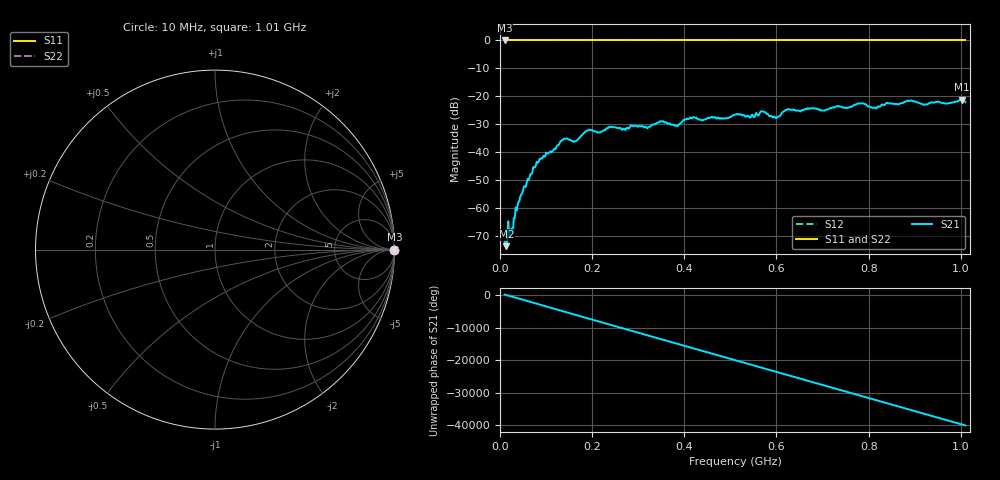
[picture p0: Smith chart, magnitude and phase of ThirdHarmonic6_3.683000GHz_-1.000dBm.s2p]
! 8/17/2025 12:28:39 PM
! C:\ANRITSUVNA\TEMP\TEMP.S2P
! CHANNEL.1
! TR.MEASUREMENT
! RAW.DATA
! RF.CORRECTION.OFF
! AVERAGING.OFF
! IF.BANDWIDTH: 5KHZ
! SWEEPTYPE:  FREQ.SWEEP(Linear)
! Reference Plane Port Info
! PORT:  PORT1  PORT2
! DISTANCE:  0  m  0  m
! TIME:  0  s  0  s
! PHASE.OFFSET:  0  deg.  0  deg.
! LOSS:  0  dB  0  dB
! REF.LOSS:  0  dB  0  dB
! REF.FREQ:  0  Hz  0  Hz
! Power Info
! POWER:  -20  dBm  -20  dBm
! EFF.POWER:  -20  dBm  -20  dBm
! SOURCE.ATTEN:  0  dB  0  dB
! TEST.ATTEN:  0  dB  0  dB
# GHZ S RI R 50.0
! FREQ.GHZ  S11RE  S11IM  S21RE  S21IM  S12RE  S12IM  S22RE  S22IM
!; PortSelection: Port_12
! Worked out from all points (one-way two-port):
!   501 points, 10 MHz to 1.01 GHz, reference 50 ohm
!   highest |S21| = -21.21 dB at 1.002 GHz (marker M1); lowest = -73.6 dB at 14 MHz (marker M2)
!   lowest |S11| = 0.0 dB at 10 MHz (marker M3)
!   |S11| at or under -10 dB: nowhere
!   |S22| runs from 0.0 to 0.0 dB; largest |S21 - S12| = 1.1
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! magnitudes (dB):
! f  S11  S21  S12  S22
! 10 MHz  0.0  -71.9  0.0  0.0
! 14 MHz  0.0  -73.6  0.0  0.0
! 24 MHz  0.0  -67.4  0.0  0.0
! 34 MHz  0.0  -59.7  0.0  0.0
! 48 MHz  0.0  -54.8  0.0  0.0
! 76 MHz  0.0  -45.4  0.0  0.0
! 136 MHz  0.0  -35.6  0.0  0.0
! 162 MHz  0.0  -36.0  0.0  0.0
! 178 MHz  0.0  -33.8  0.0  0.0
! 344 MHz  0.0  -29.4  0.0  0.0
! 382 MHz  0.0  -30.4  0.0  0.0
! 416 MHz  0.0  -27.9  0.0  0.0
! 510 MHz  0.0  -26.6  0.0  0.0
! 570 MHz  0.0  -25.4  0.0  0.0
! 596 MHz  0.0  -27.2  0.0  0.0
! 624 MHz  0.0  -24.6  0.0  0.0
! 678 MHz  0.0  -24.3  0.0  0.0
! 784 MHz  0.0  -22.5  0.0  0.0
! 814 MHz  0.0  -24.0  0.0  0.0
! 844 MHz  0.0  -22.5  0.0  0.0
! 1.002 GHz  0.0  -21.2  0.0  0.0
! 1.01 GHz  0.0  -22.0  0.0  0.0
